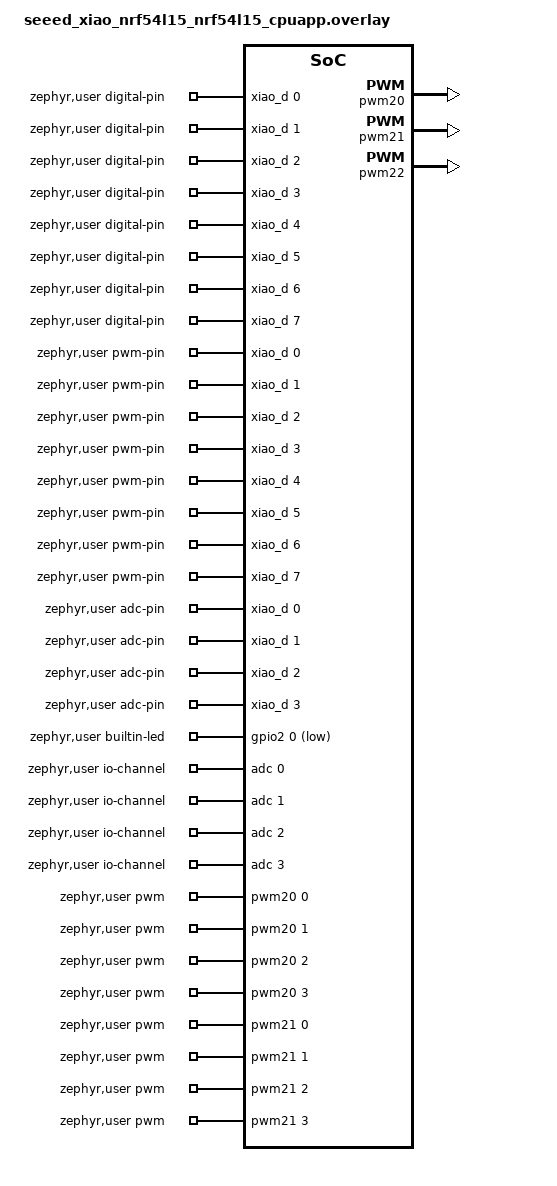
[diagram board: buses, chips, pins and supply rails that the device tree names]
/*
 * Copyright (c) 2026 Seeed Studio
 *
 * SPDX-License-Identifier: Apache-2.0
 */

/*
 * RRAM layout for the Arduino loader.
 *
 * The MCUboot0 reserved area provided by the Zephyr board definition is
 * preserved (protectable via FPROTECT). The dual image slots are replaced
 * by a single loader image + user sketch partition.
 */
&cpuapp_rram {
	partitions {
		compatible = "fixed-partitions";
		#address-cells = <1>;
		#size-cells = <1>;

		code_partition: partition@10000 {
			label = "code";
			reg = <0x00010000 0x00060000>;
			read-only;
		};

		user_sketch: partition@70000 {
			label = "user";
			reg = <0x00070000 0x00104000>;
		};

		storage_partition: partition@174000 {
			label = "storage";
			reg = <0x000174000 0x00009000>;
		};
	};
};

/delete-node/ &slot1_partition;

/ {
	zephyr,user {
		digital-pin-gpios = <&xiao_d 0 0>,	/* D0  - P1.04 / AIN0 */
				    <&xiao_d 1 0>,	/* D1  - P1.05 / AIN1 */
				    <&xiao_d 2 0>,	/* D2  - P1.06 / AIN2 */
				    <&xiao_d 3 0>,	/* D3  - P1.07 / AIN3 */
				    <&xiao_d 4 0>,	/* D4  - P1.10 / SDA0 */
				    <&xiao_d 5 0>,	/* D5  - P1.11 / SCL0 */
				    <&xiao_d 6 0>,	/* D6  - P2.08 / TX */
				    <&xiao_d 7 0>,	/* D7  - P2.07 / RX */
				    <&xiao_d 8 0>,	/* D8  - P2.01 / SCK */
				    <&xiao_d 9 0>,	/* D9  - P2.04 / MISO */
				    <&xiao_d 10 0>,	/* D10 - P2.02 / MOSI */
				    <&xiao_d 11 0>,	/* D11 - P0.03 / SCL1 */
				    <&xiao_d 12 0>,	/* D12 - P0.04 / SDA1 */
				    <&xiao_d 13 0>,	/* D13 - P2.10 */
				    <&xiao_d 14 0>,	/* D14 - P2.09 */
				    <&xiao_d 15 0>,	/* D15 - P2.06 */
				    <&gpio2 0 0>;	/* D16 - LED (builtin) */

		pwm-pin-gpios =	    <&xiao_d 0 0>,	/* D0 */
				    <&xiao_d 1 0>,
				    <&xiao_d 2 0>,
				    <&xiao_d 3 0>,
				    <&xiao_d 4 0>,
				    <&xiao_d 5 0>,
				    <&xiao_d 6 0>,
				    <&xiao_d 7 0>,
				    <&xiao_d 8 0>,
				    <&xiao_d 9 0>,
				    <&xiao_d 10 0>,
				    <&xiao_d 11 0>;

		adc-pin-gpios =	    <&xiao_d 0 0>,	/* A0 */
				    <&xiao_d 1 0>,	/* A1 */
				    <&xiao_d 2 0>,	/* A2 */
				    <&xiao_d 3 0>;	/* A3 */

		builtin-led-gpios = <&gpio2 0 GPIO_ACTIVE_LOW>;

		pwms =	<&pwm20 0 PWM_HZ(500) PWM_POLARITY_NORMAL>,
			<&pwm20 1 PWM_HZ(500) PWM_POLARITY_NORMAL>,
			<&pwm20 2 PWM_HZ(500) PWM_POLARITY_NORMAL>,
			<&pwm20 3 PWM_HZ(500) PWM_POLARITY_NORMAL>,
			<&pwm21 0 PWM_HZ(500) PWM_POLARITY_NORMAL>,
			<&pwm21 1 PWM_HZ(500) PWM_POLARITY_NORMAL>,
			<&pwm21 2 PWM_HZ(500) PWM_POLARITY_NORMAL>,
			<&pwm21 3 PWM_HZ(500) PWM_POLARITY_NORMAL>,
			<&pwm22 0 PWM_HZ(500) PWM_POLARITY_NORMAL>,
			<&pwm22 1 PWM_HZ(500) PWM_POLARITY_NORMAL>,
			<&pwm22 2 PWM_HZ(500) PWM_POLARITY_NORMAL>,
			<&pwm22 3 PWM_HZ(500) PWM_POLARITY_NORMAL>;

		io-channels =	<&adc 0>,	/* AIN0 */
				<&adc 1>,	/* AIN1 */
				<&adc 2>,	/* AIN2 */
				<&adc 3>;	/* AIN3 */

		serials = <&uart21>; /* 'Serial1' onwards, D6 (TX), D7 (RX) */
		i2cs = <&i2c22>; /* 'Wire', D4 (SDA), D5 (SCL) */
		spis = <&spi00>; /* 'SPI', D8 (SCK), D9 (MISO), D10 (MOSI) */
	};
};

&pinctrl {
	empty_default: empty_default {
		group1 {
			psels = <>;
		};
	};

	pwm20_default: pwm20_default {
		group1 {
			psels = <NRF_PSEL(PWM_OUT0, 1, 4)>,	/* D0 */
				<NRF_PSEL(PWM_OUT1, 1, 5)>,	/* D1 */
				<NRF_PSEL(PWM_OUT2, 1, 6)>,	/* D2 */
				<NRF_PSEL(PWM_OUT3, 1, 7)>;	/* D3 */
		};
	};

	pwm20_sleep: pwm20_sleep {
		group1 {
			psels = <NRF_PSEL(PWM_OUT0, 1, 4)>,
				<NRF_PSEL(PWM_OUT1, 1, 5)>,
				<NRF_PSEL(PWM_OUT2, 1, 6)>,
				<NRF_PSEL(PWM_OUT3, 1, 7)>;
				low-power-enable;
		};
	};

	pwm21_default: pwm21_default {
		group1 {
			psels = <NRF_PSEL(PWM_OUT0, 1, 10)>,	/* D4 */
				<NRF_PSEL(PWM_OUT1, 1, 11)>,	/* D5 */
				<NRF_PSEL(PWM_OUT2, 2, 8)>,	/* D6 */
				<NRF_PSEL(PWM_OUT3, 2, 7)>;	/* D7 */
		};
	};

	pwm21_sleep: pwm21_sleep {
		group1 {
			psels = <NRF_PSEL(PWM_OUT0, 1, 10)>,
				<NRF_PSEL(PWM_OUT1, 1, 11)>,
				<NRF_PSEL(PWM_OUT2, 2, 8)>,
				<NRF_PSEL(PWM_OUT3, 2, 7)>;
				low-power-enable;
		};
	};

	pwm22_default: pwm22_default {
		group1 {
			psels = <NRF_PSEL(PWM_OUT0, 2, 1)>,	/* D8 */
				<NRF_PSEL(PWM_OUT1, 2, 4)>,	/* D9 */
				<NRF_PSEL(PWM_OUT2, 2, 2)>,	/* D10 */
				<NRF_PSEL(PWM_OUT3, 0, 3)>;	/* D11 */
		};
	};

	pwm22_sleep: pwm22_sleep {
		group1 {
			psels = <NRF_PSEL(PWM_OUT0, 2, 1)>,
				<NRF_PSEL(PWM_OUT1, 2, 4)>,
				<NRF_PSEL(PWM_OUT2, 2, 2)>,
				<NRF_PSEL(PWM_OUT3, 0, 3)>;
				low-power-enable;
		};
	};
};

&pwm20 {
	status = "okay";
	zephyr,deferred-init;
	pinctrl-0 = <&empty_default>;
	pinctrl-1 = <&pwm20_sleep>;
	pinctrl-2 = <&pwm20_default>;
	pinctrl-names = "default", "sleep", "arduino";
};

&pwm21 {
	status = "okay";
	zephyr,deferred-init;
	pinctrl-0 = <&empty_default>;
	pinctrl-1 = <&pwm21_sleep>;
	pinctrl-2 = <&pwm21_default>;
	pinctrl-names = "default", "sleep", "arduino";
};

&pwm22 {
	status = "okay";
	zephyr,deferred-init;
	pinctrl-0 = <&empty_default>;
	pinctrl-1 = <&pwm22_sleep>;
	pinctrl-2 = <&pwm22_default>;
	pinctrl-names = "default", "sleep", "arduino";
};

&i2c22 {
	zephyr,deferred-init;
};

&spi00 {
	zephyr,deferred-init;
};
